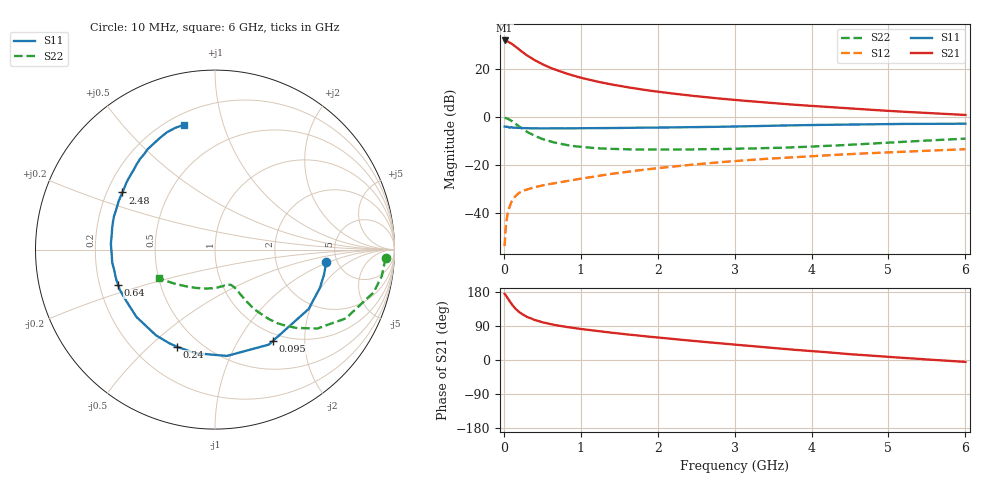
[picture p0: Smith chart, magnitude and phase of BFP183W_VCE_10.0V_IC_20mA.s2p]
! Infineon Technologies  Discrete & RF Semiconductors
! BFP183W
! VCE = 10.0V,  IC =  20 mA
! Common Emitter S-Parameters:  Jan 2016
# GHz  S  MA  R  50
!  f  S11  S21  S12  S22
! GHz  MAG  ANG  MAG  ANG  MAG  ANG  MAG  ANG
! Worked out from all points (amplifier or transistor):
!   210 points, 10 MHz to 6 GHz, reference 50 ohm
!   highest |S21| = 31.8 dB at 10 MHz (marker M1)
!   |S21| within 3 dB of that: start of sweep to 168.8 MHz
!   unconditionally stable (mu >= 1): 1.075 GHz to 5.357 GHz
!   at 185 MHz: K = 0.32, MSG = 30.3 dB, |S12| = -32.1 dB
!   at 1.52 GHz: K = 1.09, MAG = 16.2 dB, |S12| = -23.3 dB
!   at 6 GHz: K = 0.98, MSG = 7.1 dB, |S12| = -13.5 dB
!   S11 on the Smith chart (normalised r, x): 10 MHz: 4.11, -0.92; 95 MHz: 0.89, -1.42; 240 MHz: 0.38, -0.61; 640 MHz: 0.28, -0.17; 2.48 GHz: 0.26, +0.27; 6 GHz: 0.26, +0.75
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0.01  0.6246 -6.3  39.04 174.6  0.002 77.6  0.9514 -2.8
0.02  0.6231 -12.9  38.73 172.3  0.0039 76.7  0.9449 -6.0
0.03  0.6221 -19.9  38.56 169.1  0.0058 79.1  0.9407 -9.1
0.05  0.6178 -32.4  37.4 162.3  0.0097 75.1  0.9154 -15.1
0.095  0.6028 -57.7  33.86 149.1  0.0163 64.0  0.8311 -26.3
0.1  0.6084 -60.5  33.59 147.5  0.017 63.3  0.8239 -27.7
0.15  0.5961 -83.6  29.25 135.3  0.022 56.8  0.7204 -37.6
0.2  0.5875 -100.8  25.15 126.3  0.026 51.7  0.6266 -44.1
0.24  0.5813 -111.4  22.5 120.9  0.0281 49.1  0.5649 -48.0
0.3  0.5798 -124.5  19.08 113.8  0.0304 46.3  0.4877 -52.3
0.4  0.5765 -139.4  15.17 105.6  0.0339 44.8  0.4006 -56.5
0.5  0.5719 -149.6  12.51 99.6  0.037 44.8  0.3442 -58.5
0.64  0.5747 -159.7  10.03 93.5  0.0407 46.1  0.2956 -60.1
0.8  0.573 -168.4  8.089 87.6  0.0451 48.0  0.2599 -61.4
1.02  0.576 -177.2  6.406 81.4  0.0518 50.2  0.2342 -63.1
1.4  0.5813 171.6  4.716 72.0  0.0644 52.3  0.214 -66.5
2.02  0.5949 157.3  3.305 59.1  0.0854 52.7  0.2067 -75.3
2.48  0.6063 148.3  2.708 50.2  0.1012 51.4  0.2094 -83.1
3.1  0.63 137.4  2.176 38.9  0.1224 48.4  0.2167 -96.0
4.1  0.6761 122.6  1.644 22.0  0.154 42.5  0.2426 -119.3
5.1  0.7077 111.4  1.299 6.9  0.1839 36.2  0.2944 -139.9
6  0.7165 103.9  1.092 -5.1  0.2105 30.8  0.3499 -153.0
